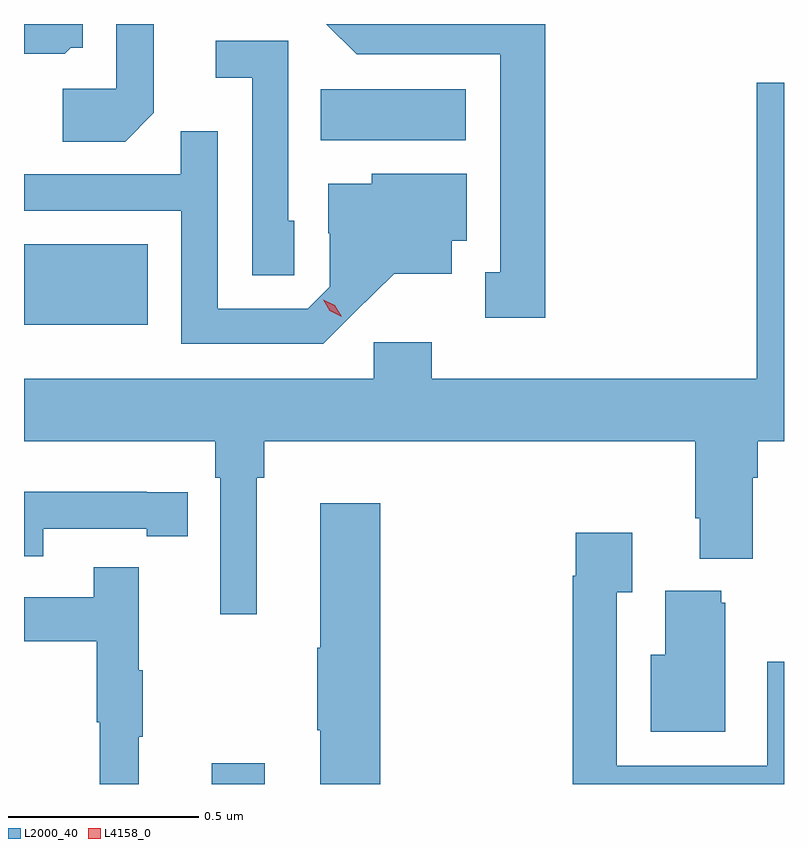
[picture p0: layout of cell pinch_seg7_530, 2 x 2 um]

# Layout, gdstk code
import gdstk
lib = gdstk.Library(unit=1e-6, precision=1e-09)
def R(c, l, rs):  # rectangles x0, y0, x1, y1
    for r in rs: c.add(gdstk.rectangle(r[:2], r[2:], *l))
def P(c, l, *ps):  # polygons
    for p in ps: c.add(gdstk.Polygon(p, *l))
L2000_40 = (2000, 40)
L4158_0 = (4158, 0)

pinch_seg7_530 = lib.new_cell('pinch_seg7_530')
R(pinch_seg7_530, L2000_40, [(122.429,1072.974,122.569,1073.029), (121.935,1074.182,122.26,1074.394), (122.716,1074.668,123.097,1074.802)])
P(pinch_seg7_530, L2000_40, [(123.307,1074.974),(122.731,1074.974),(122.811,1074.894),(123.188,1074.894),(123.188,1074.321),(123.149,1074.321),(123.149,1074.201),(123.307,1074.201)],
  [(122.058,1074.912),(122.089,1074.912),(122.089,1074.974),(121.935,1074.974),(121.935,1074.896),(122.042,1074.896)],
  [(122.277,1074.74),(122.277,1074.974),(122.178,1074.974),(122.178,1074.804),(122.037,1074.804),(122.037,1074.664),(122.201,1074.664)],
  [(122.646,1074.456),(122.631,1074.456),(122.631,1074.93),(122.439,1074.93),(122.439,1074.833),(122.535,1074.833),(122.535,1074.313),(122.646,1074.313)],
  [(122.548,1073.78),(122.567,1073.78),(122.567,1073.876),(123.701,1073.876),(123.701,1073.674),(123.713,1073.674),(123.713,1073.567),(123.853,1073.567),(123.853,1073.78),(123.866,1073.78),(123.866,1073.876),(123.935,1073.876),(123.935,1074.82),(123.863,1074.82),(123.863,1074.04),(123.008,1074.04),(123.008,1074.136),(122.856,1074.136),(122.856,1074.04),(121.935,1074.04),(121.935,1073.876),(122.438,1073.876),(122.438,1073.78),(122.451,1073.78),(122.451,1073.421),(122.548,1073.421)],
  [(122.806,1074.215),(122.909,1074.317),(123.061,1074.317),(123.061,1074.404),(123.1,1074.404),(123.1,1074.58),(122.85,1074.58),(122.85,1074.553),(122.735,1074.553),(122.735,1074.424),(122.739,1074.424),(122.739,1074.282),(122.682,1074.225),(122.445,1074.225),(122.445,1074.692),(122.347,1074.692),(122.347,1074.579),(121.935,1074.579),(121.935,1074.483),(122.349,1074.483),(122.349,1074.132),(122.722,1074.132)],
  [(121.986,1073.646),(122.258,1073.646),(122.258,1073.626),(122.366,1073.626),(122.366,1073.742),(122.258,1073.742),(122.258,1073.743),(121.935,1073.743),(121.935,1073.574),(121.986,1073.574)],
  [(122.873,1073.713),(122.714,1073.713),(122.714,1073.333),(122.707,1073.333),(122.707,1073.116),(122.714,1073.116),(122.714,1072.974),(122.873,1072.974)],
  [(123.935,1073.296),(123.891,1073.296),(123.891,1073.022),(123.495,1073.022),(123.495,1073.479),(123.535,1073.479),(123.535,1073.635),(123.387,1073.635),(123.387,1073.522),(123.379,1073.522),(123.379,1072.974),(123.935,1072.974)],
  [(122.237,1073.099),(122.248,1073.099),(122.248,1073.273),(122.237,1073.273),(122.237,1073.545),(122.119,1073.545),(122.119,1073.466),(121.935,1073.466),(121.935,1073.35),(122.127,1073.35),(122.127,1073.136),(122.134,1073.136),(122.134,1072.974),(122.237,1072.974)],
  [(123.781,1073.451),(123.77,1073.451),(123.77,1073.482),(123.623,1073.482),(123.623,1073.314),(123.584,1073.314),(123.584,1073.111),(123.781,1073.111)])
P(pinch_seg7_530, L4158_0, [(122.771,1074.204),(122.74,1074.219),(122.722,1074.249),(122.722,1074.249),(122.722,1074.249),(122.753,1074.234),(122.771,1074.204),(122.771,1074.204)])

lib.write_gds('pinch_seg7_530.gds')
